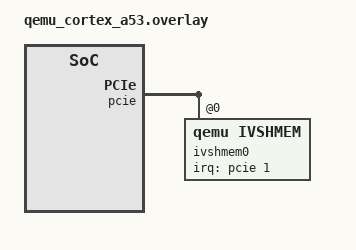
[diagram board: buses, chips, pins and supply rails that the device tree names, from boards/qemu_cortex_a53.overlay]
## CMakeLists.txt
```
# Copyright (c) 2023 Enphase Energy
# SPDX-License-Identifier: Apache-2.0

cmake_minimum_required(VERSION 3.20.0)

find_package(Zephyr REQUIRED HINTS $ENV{ZEPHYR_BASE})
project(eth_ivshmem)

target_sources(app PRIVATE src/main.c)
```

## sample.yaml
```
sample:
  name: Inter-VM Shared Memory (ivshmem) Ethernet
tests:
  sample.drivers.ethernet.eth_ivshmem:
    platform_allow: qemu_cortex_a53
    tags: drivers ethernet
    build_only: true
```

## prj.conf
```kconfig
CONFIG_HEAP_MEM_POOL_SIZE=16777216

CONFIG_LOG=y
CONFIG_LOG_MODE_IMMEDIATE=y
CONFIG_LOG_BACKEND_UART=y
CONFIG_ETHERNET_LOG_LEVEL_INF=y
CONFIG_IVSHMEM_LOG_LEVEL_INF=y

CONFIG_NETWORKING=y
CONFIG_NET_L2_ETHERNET=y
CONFIG_ETH_IVSHMEM=y
CONFIG_NET_STATISTICS=y

CONFIG_NET_SOCKETS=y
CONFIG_NET_TCP=y
CONFIG_NET_IPV4=y
CONFIG_NET_TCP_ISN_RFC6528=n

CONFIG_NET_CONFIG_SETTINGS=y
CONFIG_NET_CONFIG_MY_IPV4_ADDR="192.168.19.2"
CONFIG_NET_CONFIG_MY_IPV4_NETMASK="255.255.255.0"

CONFIG_ENTROPY_GENERATOR=y
CONFIG_TEST_RANDOM_GENERATOR=y

CONFIG_SHELL=y
CONFIG_NET_SHELL=y
CONFIG_NET_ZPERF=y

CONFIG_NET_TCP_WORKQ_STACK_SIZE=4096
CONFIG_NET_RX_STACK_SIZE=4096
CONFIG_SHELL_STACK_SIZE=4096

# Increase net buffer size/count for increased performace
CONFIG_NET_TCP_MAX_RECV_WINDOW_SIZE=5120
CONFIG_NET_PKT_TX_COUNT=6
CONFIG_NET_BUF_RX_COUNT=64
```

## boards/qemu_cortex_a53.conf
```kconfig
# Jailhouse requires ARMv8-A non-secure mode
CONFIG_ARMV8_A_NS=y

# QEMU PCI requires at least 256M of virtual space
CONFIG_KERNEL_VM_SIZE=0x80000000

# QEMU PCI requires physical addresses with more than 32 bits
CONFIG_ARM64_VA_BITS_40=y
CONFIG_ARM64_PA_BITS_40=y

# PCIe config
CONFIG_PCIE_CONTROLLER=y
CONFIG_PCIE_ECAM=y

# Required for PCIe INTx interrupts
CONFIG_DYNAMIC_INTERRUPTS=y

# Disable unwanted default configs
CONFIG_NET_DRIVERS=n
CONFIG_NET_SLIP_TAP=n
```

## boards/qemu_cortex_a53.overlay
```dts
/*
 * Copyright (c) 2023 Enphase Energy
 *
 * SPDX-License-Identifier: Apache-2.0
 */

/ {
	soc {
		/delete-node/ memory@40000000;

		sram0: memory@70000000 {
			compatible = "mmio-sram";
			reg = <0x0 0x70000000 0x0 DT_SIZE_M(128)>;
		};

		/delete-node/ pcie@4010000000;

		pcie: pcie@8e00000 {
			compatible = "pci-host-ecam-generic";
			device_type = "pci";
			reg = <0x00 0x08e00000 0x00 0x100000>;
			#size-cells = <0x02>;
			#address-cells = <0x03>;
			ranges = <0x02000000 0x00 0x10000000 0x0 0x10000000 0x00 0x10000>;
			#interrupt-cells = <0x01>;
			interrupt-map-mask = <0x00 0x00 0x00 0x07>;
			interrupt-map = <
				0x00 0x00 0x00 1 &gic 0 0 GIC_SPI 108 IRQ_TYPE_EDGE IRQ_DEFAULT_PRIORITY
				0x00 0x00 0x00 2 &gic 0 0 GIC_SPI 109 IRQ_TYPE_EDGE IRQ_DEFAULT_PRIORITY
				0x00 0x00 0x00 3 &gic 0 0 GIC_SPI 110 IRQ_TYPE_EDGE IRQ_DEFAULT_PRIORITY
				0x00 0x00 0x00 4 &gic 0 0 GIC_SPI 111 IRQ_TYPE_EDGE IRQ_DEFAULT_PRIORITY>;
			bus-range = <0x00 0x00>;
		};
	};

	eth_ivshmem0: eth_ivshmem {
		compatible = "siemens,ivshmem-eth";
		ivshmem-v2 = <&ivshmem0>;
		zephyr,random-mac-address;
		status = "okay";
	};
};

&pcie {
	ivshmem0: ivshmem@0 {
		compatible = "qemu,ivshmem";
		ivshmem-v2;
		vendor-id = <0x110A>;           /* Siemens */
		device-id = <0x4106>;           /* IVSHMEM */
		class-rev = <0xFF000100>;       /* PCI_CLASS_OTHERS | IVSHMEM_PROTO_NET */
		class-rev-mask = <0xFFFFFF00>;  /* PCI_CLASS_MASK | IVSHMEM_PROTO_MASK */
		interrupt-parent = <&pcie>;
		interrupts = <1 2 3 4>;
		reg = <0x00 0x00 0x00 0x00 0x01>;
		status = "okay";
	};
};
```

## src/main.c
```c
/*
 * Copyright (c) 2023 Enphase Energy
 *
 * SPDX-License-Identifier: Apache-2.0
 */

#include <zephyr/kernel.h>

int main(void)
{
	/* This sample uses the shell */
	k_sleep(K_FOREVER);

	return 0;
}
```
